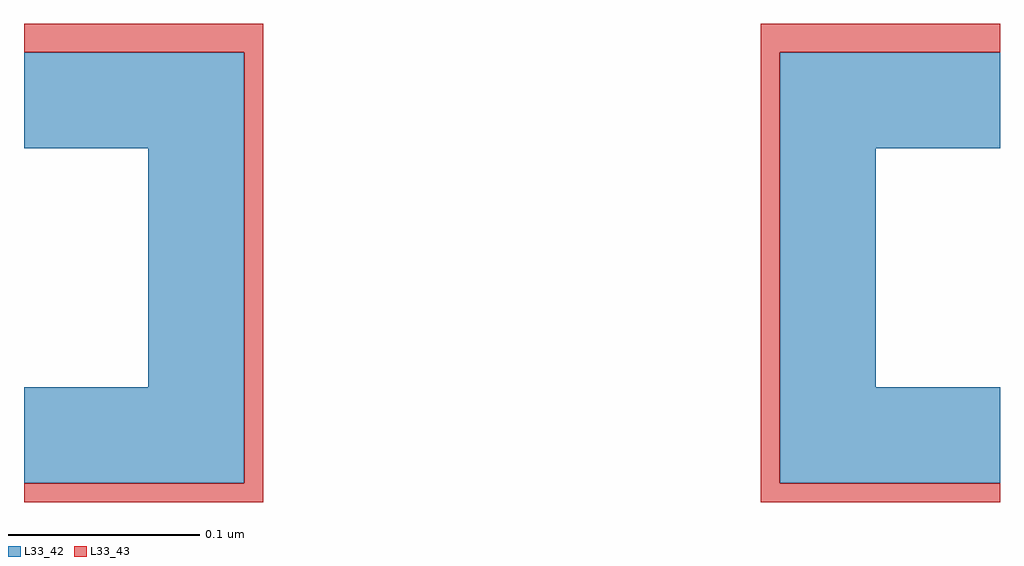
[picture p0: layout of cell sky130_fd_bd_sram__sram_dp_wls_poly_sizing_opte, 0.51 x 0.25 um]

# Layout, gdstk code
import gdstk
lib = gdstk.Library(unit=1e-6, precision=1e-09)
def R(c, l, rs):  # rectangles x0, y0, x1, y1
    for r in rs: c.add(gdstk.rectangle(r[:2], r[2:], *l))
L33_42 = (33, 42)
L33_43 = (33, 43)

sky130_fd_bd_sram__sram_ = lib.new_cell('sky130_fd_bd_sram__sram_dp_wls_poly_sizing_opte')
R(sky130_fd_bd_sram__sram_, L33_42, [(0,-0.24,0.115,-0.19), (0.065,-0.24,0.115,-0.015), (0.395,-0.24,0.51,-0.19), (0.395,-0.24,0.445,-0.015), (0,-0.065,0.115,-0.015), (0.395,-0.065,0.51,-0.015)])
R(sky130_fd_bd_sram__sram_, L33_43, [(0,-0.25,0.125,-0.24), (0.115,-0.25,0.125,0), (0.385,-0.25,0.395,0), (0.385,-0.25,0.51,-0.24), (0,-0.015,0.115,0), (0.395,-0.015,0.51,0)])

lib.write_gds('sky130_fd_bd_sram__sram_dp_wls_poly_sizing_opte.gds')
